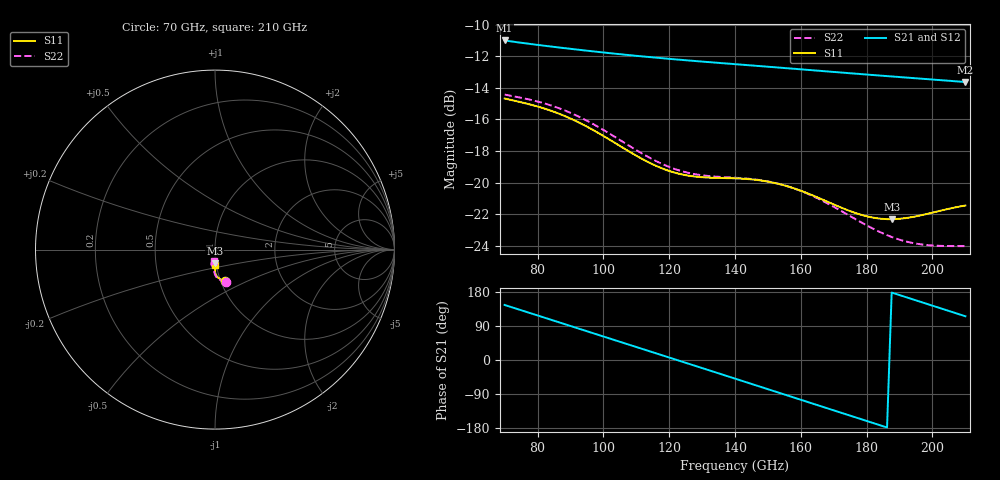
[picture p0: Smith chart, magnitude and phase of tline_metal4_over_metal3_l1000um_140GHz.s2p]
#  GHZ S DB R 50
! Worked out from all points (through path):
!   101 points, 70 GHz to 210 GHz, reference 50 ohm
!   highest |S21| = -11.00 dB at 70 GHz (marker M1); lowest = -13.6 dB at 210 GHz (marker M2)
!   group delay of S21, straight-line fit = 7.74 ps
!   lowest |S11| = -22.3 dB at 187.6 GHz (marker M3), VSWR 1.17, Z = 49.3 - j7.59 ohm
!   |S11| at or under -10 dB: start of sweep to end of sweep
!   |S22| runs from -24.0 to -14.4 dB; largest |S21 - S12| = 3e-13
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70  -14.68 -72.5  -11.00 145.2  -11.00 145.2  -14.43 -71.1
77  -15.02 -75.5  -11.20 125.9  -11.20 125.9  -14.72 -74.4
82.6  -15.35 -78.6  -11.35 110.4  -11.35 110.4  -15.02 -77.8
88.2  -15.78 -81.9  -11.49 94.8  -11.49 94.8  -15.43 -81.5
93.8  -16.33 -85.1  -11.62 79.3  -11.62 79.3  -15.95 -85.1
99.4  -16.97 -87.7  -11.75 63.7  -11.75 63.7  -16.59 -88.2
106.4  -17.85 -89.6  -11.90 44.3  -11.90 44.3  -17.48 -90.9
112  -18.53 -89.9  -12.01 28.8  -12.01 28.8  -18.19 -91.7
117.6  -19.08 -89.1  -12.12 13.2  -12.12 13.2  -18.79 -91.6
123.2  -19.45 -88.0  -12.22 -2.3  -12.22 -2.3  -19.24 -90.9
128.8  -19.64 -87.1  -12.32 -17.9  -12.32 -17.9  -19.50 -90.2
140  -19.73 -87.7  -12.50 -49.1  -12.50 -49.1  -19.69 -91.2
147  -19.84 -89.9  -12.62 -68.7  -12.62 -68.7  -19.83 -93.6
152.6  -20.05 -92.0  -12.71 -84.3  -12.71 -84.3  -20.04 -96.3
158.2  -20.38 -94.1  -12.80 -99.9  -12.80 -99.9  -20.39 -99.1
163.8  -20.83 -95.6  -12.89 -115.6  -12.89 -115.6  -20.87 -101.6
170.8  -21.45 -96.1  -13.01 -135.1  -13.01 -135.1  -21.62 -103.8
176.4  -21.91 -95.2  -13.10 -150.8  -13.10 -150.8  -22.29 -104.4
182  -22.22 -93.3  -13.19 -166.4  -13.19 -166.4  -22.92 -103.9
187.6  -22.31 -91.1  -13.28 178.0  -13.28 178.0  -23.44 -102.3
197.4  -22.03 -88.8  -13.43 150.6  -13.43 150.6  -23.93 -98.6
210  -21.45 -90.9  -13.63 115.4  -13.63 115.4  -24.02 -96.2
